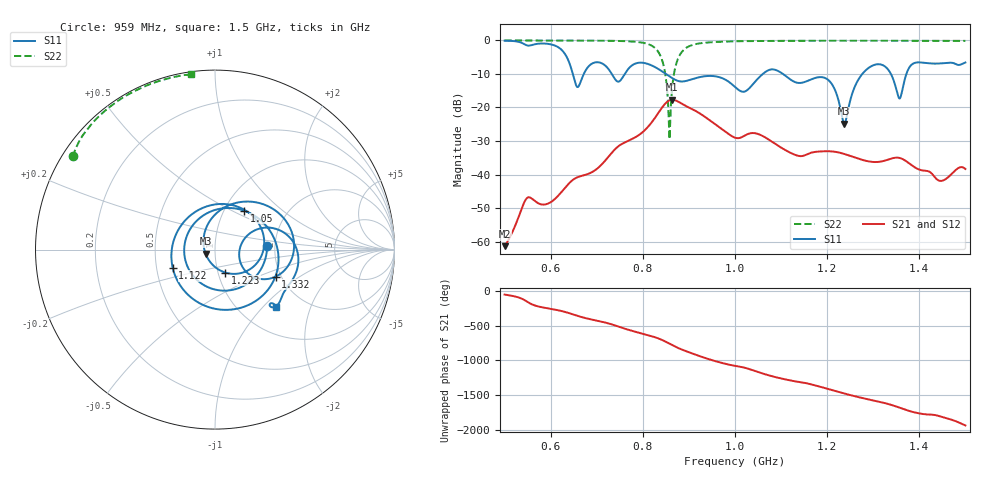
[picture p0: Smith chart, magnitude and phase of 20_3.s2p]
! TOUCHSTONE file generated by CST MICROWAVE STUDIO
! Date and time: Fri Dec 11 14:12:06 2020
! Project name: Scenario_1_Planar_Body_Tissue_Out_of_Line_v2.cst
! Parameters = {dy1=-17.3; L_HA=400; Ltissue=700; MT=2.54; Rad_Dielectric=30; Rad_Lower=7.3; Rad_Upper=30; Wtissue=700; a_HA=580; a_WG=246; b_HA=500; b_WG=121; c_HA=0; c_WG=187; d_feed=85; dx1=520; h_feed=15; h_lower=18; h_upper=40; hfat=3; hgap=25; hmuscle=50; hskin=1.5}
! Header version: 2018
! Port assignment regex: !\s*Touchstone port\s*([0-9]+)\s*=\s*(CST MWS port|CST DS port)\s*([0-9]+|Zmin|Zmax)\s*\(\"(.*)\"\)(\s*mode\s*([0-9]+))?.*
! Touchstone port assignment:
! Touchstone port 1 = CST MWS port 1 ("")
! Touchstone port 2 = CST MWS port 2 ("")
# GHz S DB R 50
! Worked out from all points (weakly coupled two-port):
!   1003 points, 500 MHz to 1.5 GHz, reference 50 ohm
!   highest |S21| = -17.68 dB at 864 MHz (marker M1); lowest = -61.4 dB at 500 MHz (marker M2)
!   lowest |S11| = -24.9 dB at 1.237 GHz (marker M3), VSWR 1.12, Z = 45 - j2.1 ohm
!   |S11| at or under -10 dB: 850.1 MHz to 1.06 GHz (210.3 MHz wide, 22 % of centre); 1.104 GHz to 1.276 GHz (172.2 MHz wide, 14.5 % of centre); 1.338 GHz to 1.372 GHz (33.57 MHz wide, 2.48 % of centre) (the widest 3 of 5)
!   |S22| runs from -29.4 to 0.0 dB; largest |S21 - S12| = 1.5e-05
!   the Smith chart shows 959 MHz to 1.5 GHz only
!   S11 on the Smith chart (normalised r, x): 959 MHz: 1.82, +0.07; 1.05 GHz: 1.24, +0.58; 1.122 GHz: 0.61, -0.13; 1.223 GHz: 1.08, -0.28; 1.332 GHz: 1.87, -0.65; 1.5 GHz: 1.45, -1.19
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0.5  -0.07 -122.0  -61.37 -47.8  -61.37 -47.8  -0.01 151.1
0.63  -3.84 145.9  -44.15 63.3  -44.15 63.3  -0.03 141.7
0.667  -11.62 179.0  -40.41 -12.9  -40.41 -12.9  -0.04 138.4
0.716  -7.24 105.5  -36.21 -88.3  -36.21 -88.3  -0.09 132.8
0.741  -11.79 7.8  -32.28 -136.7  -32.28 -136.7  -0.14 129.1
0.786  -6.80 166.3  -28.70 130.8  -28.70 130.8  -0.43 118.2
0.834  -8.55 44.0  -21.56 37.8  -21.56 37.8  -3.52 83.7
0.857  -10.64 -24.8  -17.91 -34.0  -17.91 -34.0  -26.79 -1.8
0.864  -11.26 -48.6  -17.68 -58.5  -17.68 -58.5  -13.58 -139.6
0.902  -11.77 170.7  -20.14 -166.0  -20.14 -166.0  -1.63 167.2
0.959  -10.74 3.4  -25.22 67.6  -25.22 67.6  -0.46 146.8
1  -13.87 -113.0  -29.01 2.8  -29.01 2.8  -0.25 140.2
1.05  -11.35 53.3  -27.90 -86.5  -27.90 -86.5  -0.17 134.4
1.122  -11.81 -156.4  -33.63 149.7  -33.63 149.7  -0.11 127.8
1.167  -11.52 69.7  -33.43 92.5  -33.43 92.5  -0.10 124.2
1.223  -17.09 -66.0  -33.36 -10.3  -33.36 -10.3  -0.08 119.9
1.237  -24.86 -156.0  -33.86 -36.3  -33.86 -36.3  -0.08 118.8
1.278  -9.72 55.1  -35.70 -104.6  -35.70 -104.6  -0.09 115.7
1.332  -8.64 -24.0  -35.56 172.9  -35.56 172.9  -0.08 111.7
1.334  -9.00 -26.5  -35.47 169.1  -35.47 169.1  -0.08 111.5
1.357  -17.34 -6.2  -35.05 118.3  -35.05 118.3  -0.09 109.7
1.5  -6.59 -43.4  -38.35 -138.0  -38.35 -138.0  -0.13 97.9
